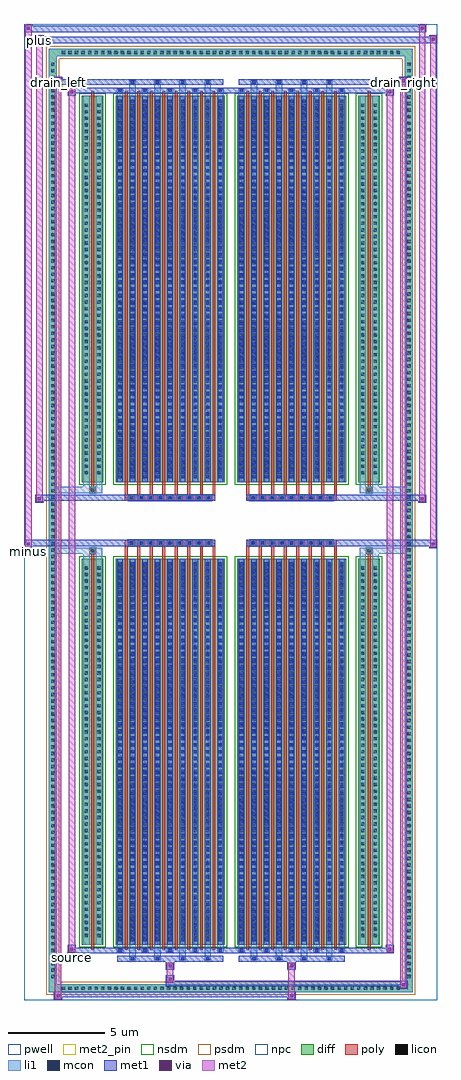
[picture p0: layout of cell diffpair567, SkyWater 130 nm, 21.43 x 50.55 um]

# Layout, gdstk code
import gdstk
lib = gdstk.Library(unit=1e-6, precision=5e-09)
def R(c, l, rs):  # rectangles x0, y0, x1, y1
    for r in rs: c.add(gdstk.rectangle(r[:2], r[2:], *l))
def A(c, l, x, y, w, h, nx, ny, dx, dy):  # array of equal rectangles
    R(c, l, [(x+i*dx, y+j*dy, x+i*dx+w, y+j*dy+h) for i in range(nx) for j in range(ny)])
def P(c, l, *ps):  # polygons
    for p in ps: c.add(gdstk.Polygon(p, *l))
pwell = (64, 44)
diff = (65, 20)
poly = (66, 20)
licon = (66, 44)
li1 = (67, 20)
mcon = (67, 44)
met1 = (68, 20)
via = (68, 44)
met2_pin = (69, 16)
met2 = (69, 20)
nsdm = (93, 44)
psdm = (94, 20)
npc = (95, 20)

diffpair567 = lib.new_cell('diffpair567')
R(diffpair567, pwell, [(-10.7,-24.84,10.7,25.71), (-8.02,-23.03,-0.01,-0.805), (0.01,-23.03,8.02,-0.805), (-8.02,0.805,-0.01,23.03), (0.01,0.805,8.02,23.03)])
A(diffpair567, diff, -8.875, -24.44, 0.41, 0.41, 52, 2, 0.34, 48.47)
A(diffpair567, diff, -9.43, -23.835, 0.41, 0.41, 1, 140, 0, 0.34)
A(diffpair567, diff, 9.02, -23.835, 0.41, 0.41, 1, 140, 0, 0.34)
R(diffpair567, diff, [(-8.875,-24.44,8.875,-24.03), (-9.43,-23.835,-9.02,23.835), (9.02,-23.835,9.43,23.835), (-7.71,-21.985,-6.61,-1.985), (-5.97,-21.985,-0.32,-1.985), (0.32,-21.985,5.97,-1.985), (6.61,-21.985,7.71,-1.985), (-7.71,1.985,-6.61,21.985), (-5.97,1.985,-0.32,21.985), (0.32,1.985,5.97,21.985), (6.61,1.985,7.71,21.985), (-8.875,24.03,8.875,24.44)])
P(diffpair567, diff, [(9.43,24.44),(-9.43,24.44),(-9.43,-24.03),(-9.02,-24.03),(-9.02,24.03),(9.02,24.03),(9.02,-24.03),(-9.02,-24.03),(-9.43,-24.03),(-9.43,-24.44),(9.43,-24.44)])
A(diffpair567, poly, -5.495, -22.235, 0.15, 20.5, 8, 2, 0.65, 23.97)
A(diffpair567, poly, 0.795, -22.235, 0.15, 20.5, 8, 2, 0.65, 23.97)
A(diffpair567, poly, -5.495, -1.735, 0.15, 0.4, 8, 2, 0.65, 3.07)
A(diffpair567, poly, 0.795, -1.735, 0.15, 0.4, 8, 2, 0.65, 3.07)
A(diffpair567, poly, -5.31, -1.335, 0.33, 0.33, 9, 2, 0.5, 2.34)
A(diffpair567, poly, 0.98, -1.335, 0.33, 0.33, 9, 2, 0.5, 2.34)
R(diffpair567, poly, [(-7.235,-22.235,-7.085,-1.735), (7.085,-22.235,7.235,-1.735), (-7.325,-1.735,-6.995,-1.405), (-7.325,-1.735,-6.995,-1.405), (6.995,-1.735,7.325,-1.405), (6.995,-1.735,7.325,-1.405), (-5.495,-1.335,-0.795,-1.005), (0.795,-1.335,5.495,-1.005), (-5.495,1.005,-0.795,1.335), (0.795,1.005,5.495,1.335), (-7.325,1.405,-6.995,1.735), (-7.325,1.405,-6.995,1.735), (6.995,1.405,7.325,1.735), (6.995,1.405,7.325,1.735), (-7.235,1.735,-7.085,22.235), (7.085,1.735,7.235,22.235)])
A(diffpair567, licon, -8.755, -24.32, 0.17, 0.17, 52, 2, 0.34, 48.47)
A(diffpair567, licon, -9.31, -23.715, 0.17, 0.17, 1, 140, 0, 0.34)
A(diffpair567, licon, 9.14, -23.715, 0.17, 0.17, 1, 140, 0, 0.34)
A(diffpair567, licon, -7.57, -21.59, 0.17, 0.17, 1, 57, 0, 0.34)
A(diffpair567, licon, -6.92, -21.59, 0.17, 0.17, 1, 57, 0, 0.34)
A(diffpair567, licon, -5.83, -21.59, 0.17, 0.17, 9, 57, 0.65, 0.34)
A(diffpair567, licon, 0.46, -21.59, 0.17, 0.17, 9, 57, 0.65, 0.34)
A(diffpair567, licon, 6.75, -21.59, 0.17, 0.17, 1, 57, 0, 0.34)
A(diffpair567, licon, 7.4, -21.59, 0.17, 0.17, 1, 57, 0, 0.34)
A(diffpair567, licon, -5.23, -1.255, 0.17, 0.17, 9, 2, 0.5, 2.34)
A(diffpair567, licon, 1.06, -1.255, 0.17, 0.17, 9, 2, 0.5, 2.34)
A(diffpair567, licon, -7.57, 2.38, 0.17, 0.17, 1, 57, 0, 0.34)
A(diffpair567, licon, -6.92, 2.38, 0.17, 0.17, 1, 57, 0, 0.34)
A(diffpair567, licon, -5.83, 2.38, 0.17, 0.17, 9, 57, 0.65, 0.34)
A(diffpair567, licon, 0.46, 2.38, 0.17, 0.17, 9, 57, 0.65, 0.34)
A(diffpair567, licon, 6.75, 2.38, 0.17, 0.17, 1, 57, 0, 0.34)
A(diffpair567, licon, 7.4, 2.38, 0.17, 0.17, 1, 57, 0, 0.34)
R(diffpair567, licon, [(-7.245,-1.655,-7.075,-1.485), (7.075,-1.655,7.245,-1.485), (-7.245,1.485,-7.075,1.655), (7.075,1.485,7.245,1.655)])
A(diffpair567, li1, -8.835, -24.4, 0.33, 0.33, 52, 2, 0.34, 48.47)
A(diffpair567, li1, -9.39, -23.795, 0.33, 0.33, 1, 140, 0, 0.34)
A(diffpair567, li1, 9.06, -23.795, 0.33, 0.33, 1, 140, 0, 0.34)
A(diffpair567, li1, -5.26, -22.79, 0.33, 0.805, 4, 2, 1.3, 44.775)
A(diffpair567, li1, -5.18, -22.79, 0.17, 0.17, 4, 2, 1.3, 45.41)
A(diffpair567, li1, 1.03, -22.79, 0.33, 0.805, 4, 2, 1.3, 44.775)
A(diffpair567, li1, 1.11, -22.79, 0.17, 0.17, 4, 2, 1.3, 45.41)
A(diffpair567, li1, -5.91, -22.36, 0.33, 0.375, 5, 2, 1.3, 44.345)
A(diffpair567, li1, -5.83, -22.36, 0.17, 0.17, 5, 2, 1.3, 44.55)
A(diffpair567, li1, 0.38, -22.36, 0.33, 0.375, 5, 2, 1.3, 44.345)
A(diffpair567, li1, 0.46, -22.36, 0.17, 0.17, 5, 2, 1.3, 44.55)
A(diffpair567, li1, -5.91, -21.985, 0.33, 20, 9, 2, 0.65, 23.97)
A(diffpair567, li1, 0.38, -21.985, 0.33, 20, 9, 2, 0.65, 23.97)
A(diffpair567, li1, -5.83, -21.79, 0.17, 0.17, 9, 55, 0.65, 0.36)
A(diffpair567, li1, -5.83, -21.79, 0.17, 19.61, 9, 2, 0.65, 23.97)
A(diffpair567, li1, 0.46, -21.79, 0.17, 0.17, 9, 55, 0.65, 0.36)
A(diffpair567, li1, 0.46, -21.79, 0.17, 19.61, 9, 2, 0.65, 23.97)
A(diffpair567, li1, -7.65, -21.67, 0.33, 0.33, 1, 57, 0, 0.34)
A(diffpair567, li1, -7, -21.67, 0.33, 0.33, 1, 57, 0, 0.34)
A(diffpair567, li1, -5.91, -21.67, 0.33, 0.33, 9, 57, 0.65, 0.34)
A(diffpair567, li1, 0.38, -21.67, 0.33, 0.33, 9, 57, 0.65, 0.34)
A(diffpair567, li1, 6.67, -21.67, 0.33, 0.33, 1, 57, 0, 0.34)
A(diffpair567, li1, 7.32, -21.67, 0.33, 0.33, 1, 57, 0, 0.34)
A(diffpair567, li1, -5.31, -1.335, 0.33, 0.33, 9, 2, 0.5, 2.34)
A(diffpair567, li1, 0.98, -1.335, 0.33, 0.33, 9, 2, 0.5, 2.34)
A(diffpair567, li1, -5.83, 2.18, 0.17, 0.17, 9, 55, 0.65, 0.36)
A(diffpair567, li1, 0.46, 2.18, 0.17, 0.17, 9, 55, 0.65, 0.36)
A(diffpair567, li1, -7.65, 2.3, 0.33, 0.33, 1, 57, 0, 0.34)
A(diffpair567, li1, -7, 2.3, 0.33, 0.33, 1, 57, 0, 0.34)
A(diffpair567, li1, -5.91, 2.3, 0.33, 0.33, 9, 57, 0.65, 0.34)
A(diffpair567, li1, 0.38, 2.3, 0.33, 0.33, 9, 57, 0.65, 0.34)
A(diffpair567, li1, 6.67, 2.3, 0.33, 0.33, 1, 57, 0, 0.34)
A(diffpair567, li1, 7.32, 2.3, 0.33, 0.33, 1, 57, 0, 0.34)
R(diffpair567, li1, [(-9.43,-24.44,-9.02,-24.03), (-9.43,-24.44,-9.02,-24.03), (-9.02,-24.44,9.02,-24.03), (9.02,-24.44,9.43,-24.03), (9.02,-24.44,9.43,-24.03), (-9.43,-24.03,-9.02,24.03), (9.02,-24.03,9.43,24.03), (-7.65,-21.985,-7.32,-1.985), (-7,-21.985,-6.67,-1.985), (6.67,-21.985,7,-1.985), (7.32,-21.985,7.65,-1.985), (-7.65,-1.985,-7.32,-1.405), (-7,-1.985,-6.67,-1.405), (6.67,-1.985,7,-1.405), (7.32,-1.985,7.65,-1.405), (-9.43,-1.735,-7.325,-1.405), (-7.65,-1.735,-7.325,-1.405), (-7.325,-1.735,-6.995,-1.405), (-6.995,-1.735,-6.67,-1.405), (6.67,-1.735,6.995,-1.405), (6.995,-1.735,7.325,-1.405), (6.995,-1.735,9.43,-1.405), (7.325,-1.735,7.65,-1.405), (-9.43,1.405,-7.325,1.735), (-7.65,1.405,-7.325,1.735), (-7.65,1.405,-7.32,1.985), (-7.325,1.405,-6.995,1.735), (-7,1.405,-6.67,1.985), (-6.995,1.405,-6.67,1.735), (6.67,1.405,6.995,1.735), (6.67,1.405,7,1.985), (6.995,1.405,7.325,1.735), (6.995,1.405,9.43,1.735), (7.32,1.405,7.65,1.985), (7.325,1.405,7.65,1.735), (-7.65,1.985,-7.32,21.985), (-7,1.985,-6.67,21.985), (6.67,1.985,7,21.985), (7.32,1.985,7.65,21.985), (-9.43,24.03,-9.02,24.44), (-9.43,24.03,-9.02,24.44), (-9.02,24.03,9.02,24.44), (9.02,24.03,9.43,24.44), (9.02,24.03,9.43,24.44)])
A(diffpair567, mcon, -5.18, -22.79, 0.17, 0.17, 4, 2, 1.3, 45.41)
A(diffpair567, mcon, 1.11, -22.79, 0.17, 0.17, 4, 2, 1.3, 45.41)
A(diffpair567, mcon, -5.83, -22.36, 0.17, 0.17, 5, 2, 1.3, 44.55)
A(diffpair567, mcon, 0.46, -22.36, 0.17, 0.17, 5, 2, 1.3, 44.55)
A(diffpair567, mcon, -5.83, -21.79, 0.17, 0.17, 9, 55, 0.65, 0.36)
A(diffpair567, mcon, 0.46, -21.79, 0.17, 0.17, 9, 55, 0.65, 0.36)
A(diffpair567, mcon, -5.23, -1.255, 0.17, 0.17, 9, 2, 0.5, 2.34)
A(diffpair567, mcon, 1.06, -1.255, 0.17, 0.17, 9, 2, 0.5, 2.34)
A(diffpair567, mcon, -5.83, 2.18, 0.17, 0.17, 9, 55, 0.65, 0.36)
A(diffpair567, mcon, 0.46, 2.18, 0.17, 0.17, 9, 55, 0.65, 0.36)
A(diffpair567, met1, -5.24, -22.85, 0.29, 0.29, 4, 2, 1.3, 45.41)
A(diffpair567, met1, 1.05, -22.85, 0.29, 0.29, 4, 2, 1.3, 45.41)
A(diffpair567, met1, -5.89, -22.42, 0.29, 0.29, 5, 2, 1.3, 44.55)
A(diffpair567, met1, 0.4, -22.42, 0.29, 0.29, 5, 2, 1.3, 44.55)
A(diffpair567, met1, -5.89, -21.985, 0.29, 20, 9, 2, 0.65, 23.97)
A(diffpair567, met1, 0.4, -21.985, 0.29, 20, 9, 2, 0.65, 23.97)
A(diffpair567, met1, -5.89, -21.85, 0.29, 0.29, 9, 55, 0.65, 0.36)
A(diffpair567, met1, 0.4, -21.85, 0.29, 0.29, 9, 55, 0.65, 0.36)
A(diffpair567, met1, -5.29, -1.315, 0.29, 0.29, 9, 2, 0.5, 2.34)
A(diffpair567, met1, 1, -1.315, 0.29, 0.29, 9, 2, 0.5, 2.34)
A(diffpair567, met1, -5.89, 2.12, 0.29, 0.29, 9, 55, 0.65, 0.36)
A(diffpair567, met1, 0.4, 2.12, 0.29, 0.29, 9, 55, 0.65, 0.36)
R(diffpair567, met1, [(-9.16,-24.84,-8.73,-24.41), (2.93,-24.84,3.36,-24.41), (-9.16,-24.7,3.36,-24.41), (8.73,-24.27,9.16,-23.84), (-3.36,-24.13,9.16,-23.84), (-3.36,-23.99,-2.93,-23.56), (-3.36,-23.28,-2.93,-22.85), (2.93,-23.28,3.36,-22.85), (-5.89,-22.85,-0.4,-22.56), (0.4,-22.85,5.89,-22.56), (-8.45,-22.42,-8.02,-21.99), (-8.45,-22.42,-5.89,-22.13), (-5.89,-22.42,-0.4,-22.13), (-0.4,-22.42,0.4,-22.13), (0.4,-22.42,5.89,-22.13), (5.89,-22.42,8.45,-22.13), (8.02,-22.42,8.45,-21.99), (-10.7,-1.435,-10.27,-1.005), (10.27,-1.435,10.7,-1.005), (-10.7,-1.335,-0.795,-1.005), (-5.495,-1.335,-0.795,-1.005), (0.795,-1.335,5.495,-1.005), (0.795,-1.335,10.7,-1.005), (-10.13,0.905,-9.7,1.335), (9.7,0.905,10.13,1.335), (-10.13,1.005,-5.495,1.335), (-5.495,1.005,-0.795,1.335), (0.795,1.005,5.495,1.335), (5.495,1.005,10.13,1.335), (-8.45,21.99,-8.02,22.42), (8.02,21.99,8.45,22.42), (-8.45,22.13,-5.89,22.42), (-5.89,22.13,-0.4,22.42), (-0.4,22.13,0.4,22.42), (0.4,22.13,5.89,22.42), (5.89,22.13,8.45,22.42), (-9.16,22.56,-8.73,22.99), (-9.16,22.56,-5.89,22.85), (-5.89,22.56,-0.4,22.85), (0.4,22.56,5.89,22.85), (5.89,22.56,9.16,22.85), (8.73,22.56,9.16,22.99), (-10.13,24.71,-9.7,25.14), (-10.13,24.71,-8.02,25.04), (-8.02,24.71,8.02,25.04), (8.02,24.71,10.7,25.04), (10.27,24.71,10.7,25.14), (-10.7,25.28,-10.27,25.71), (-10.7,25.28,-8.02,25.61), (-8.02,25.28,8.02,25.61), (8.02,25.28,10.13,25.61), (9.7,25.28,10.13,25.71)])
R(diffpair567, via, [(-9.02,-24.7,-8.87,-24.55), (3.07,-24.7,3.22,-24.55), (8.87,-24.13,9.02,-23.98), (-3.22,-23.85,-3.07,-23.7), (-3.22,-23.14,-3.07,-22.99), (3.07,-23.14,3.22,-22.99), (-8.31,-22.28,-8.16,-22.13), (8.16,-22.28,8.31,-22.13), (-10.56,-1.295,-10.41,-1.145), (10.41,-1.295,10.56,-1.145), (-9.99,1.045,-9.84,1.195), (9.84,1.045,9.99,1.195), (-8.31,22.13,-8.16,22.28), (8.16,22.13,8.31,22.28), (-9.02,22.7,-8.87,22.85), (8.87,22.7,9.02,22.85), (-9.99,24.85,-9.84,25), (10.41,24.85,10.56,25), (-10.56,25.42,-10.41,25.57), (9.84,25.42,9.99,25.57)])
R(diffpair567, met2_pin, [(-8.485,-22.87,-7.985,-22.37), (-10.735,-1.885,-10.235,-1.385), (-9.195,22.44,-8.695,22.94), (8.695,22.44,9.195,22.94), (-10.165,24.59,-9.665,25.09)])
R(diffpair567, met2, [(-9.11,-24.79,-8.78,-24.46), (-9.11,-24.79,-8.78,22.94), (2.98,-24.79,3.31,-24.46), (2.98,-24.46,3.31,-23.23), (8.78,-24.22,9.11,-23.89), (8.78,-24.22,9.11,22.94), (-3.31,-23.94,-2.98,-23.61), (-3.31,-23.61,-2.98,-23.23), (-3.31,-23.23,-2.98,-22.9), (2.98,-23.23,3.31,-22.9), (-8.4,-22.37,-8.07,-22.04), (-8.4,-22.37,-8.07,22.37), (8.07,-22.37,8.4,-22.04), (8.07,-22.37,8.4,22.37), (-10.65,-1.385,-10.32,-1.055), (-10.65,-1.385,-10.32,25.66), (10.32,-1.385,10.65,-1.055), (10.32,-1.385,10.65,25.09), (-10.08,0.955,-9.75,1.285), (-10.08,0.955,-9.75,25.09), (9.75,0.955,10.08,1.285), (9.75,0.955,10.08,25.66), (-8.4,22.04,-8.07,22.37), (8.07,22.04,8.4,22.37), (-9.11,22.61,-8.78,22.94), (8.78,22.61,9.11,22.94), (-10.08,24.76,-9.75,25.09), (10.32,24.76,10.65,25.09), (-10.65,25.33,-10.32,25.66), (9.75,25.33,10.08,25.66)])
P(diffpair567, met2, [(10.65,-1.385),(10.65,-1.385),(10.65,-1.055),(10.65,-1.055)],
  [(10.65,24.76),(10.65,24.76),(10.65,25.09),(10.65,25.09)],
  [(-10.32,-1.385),(-10.32,-1.385),(-10.32,-1.055),(-10.32,-1.055)],
  [(-10.32,25.33),(-10.32,25.33),(-10.32,25.66),(-10.32,25.66)],
  [(10.08,0.955),(10.08,0.955),(10.08,1.285),(10.08,1.285)],
  [(10.08,25.33),(10.08,25.33),(10.08,25.66),(10.08,25.66)],
  [(-9.75,0.955),(-9.75,0.955),(-9.75,1.285),(-9.75,1.285)],
  [(-9.75,24.76),(-9.75,24.76),(-9.75,25.09),(-9.75,25.09)],
  [(-8.78,-24.79),(-8.78,-24.79),(-8.78,-24.46),(-8.78,-24.46)],
  [(-8.78,22.61),(-8.78,22.61),(-8.78,22.94),(-8.78,22.94)],
  [(9.11,-24.22),(9.11,-24.22),(9.11,-23.89),(9.11,-23.89)],
  [(9.11,22.61),(9.11,22.61),(9.11,22.94),(9.11,22.94)],
  [(-8.07,-22.37),(-8.07,-22.37),(-8.07,-22.04),(-8.07,-22.04)],
  [(-8.07,22.04),(-8.07,22.04),(-8.07,22.37),(-8.07,22.37)],
  [(8.4,-22.37),(8.4,-22.37),(8.4,-22.04),(8.4,-22.04)],
  [(8.4,22.04),(8.4,22.04),(8.4,22.37),(8.4,22.37)])
R(diffpair567, nsdm, [(-7.84,-22.115,-6.48,-1.855), (-6.1,-22.115,-0.19,-1.855), (0.19,-22.115,6.1,-1.855), (6.48,-22.115,7.84,-1.855), (-7.84,1.855,-6.48,22.115), (-6.1,1.855,-0.19,22.115), (0.19,1.855,6.1,22.115), (6.48,1.855,7.84,22.115)])
P(diffpair567, psdm, [(9.56,24.57),(-9.56,24.57),(-9.56,-23.9),(-8.89,-23.9),(-8.89,23.9),(8.89,23.9),(8.89,-23.9),(-8.89,-23.9),(-9.56,-23.9),(-9.56,-24.57),(9.56,-24.57)])
A(diffpair567, npc, -5.33, -1.355, 0.37, 0.37, 9, 2, 0.5, 2.34)
A(diffpair567, npc, 0.96, -1.355, 0.37, 0.37, 9, 2, 0.5, 2.34)
R(diffpair567, npc, [(-7.345,-1.755,-6.975,-1.385), (6.975,-1.755,7.345,-1.385), (-5.33,-1.355,-4.46,-0.985), (-5.33,-1.355,-4.46,-0.985), (-4.83,-1.355,-3.96,-0.985), (-4.83,-1.355,-3.96,-0.985), (-4.33,-1.355,-3.46,-0.985), (-4.33,-1.355,-3.46,-0.985), (-3.83,-1.355,-2.96,-0.985), (-3.83,-1.355,-2.96,-0.985), (-3.33,-1.355,-2.46,-0.985), (-3.33,-1.355,-2.46,-0.985), (-2.83,-1.355,-1.96,-0.985), (-2.83,-1.355,-1.96,-0.985), (-2.33,-1.355,-1.46,-0.985), (-2.33,-1.355,-1.46,-0.985), (-1.83,-1.355,-0.96,-0.985), (-1.83,-1.355,-0.96,-0.985), (0.96,-1.355,1.83,-0.985), (0.96,-1.355,1.83,-0.985), (1.46,-1.355,2.33,-0.985), (1.46,-1.355,2.33,-0.985), (1.96,-1.355,2.83,-0.985), (1.96,-1.355,2.83,-0.985), (2.46,-1.355,3.33,-0.985), (2.46,-1.355,3.33,-0.985), (2.96,-1.355,3.83,-0.985), (2.96,-1.355,3.83,-0.985), (3.46,-1.355,4.33,-0.985), (3.46,-1.355,4.33,-0.985), (3.96,-1.355,4.83,-0.985), (3.96,-1.355,4.83,-0.985), (4.46,-1.355,5.33,-0.985), (4.46,-1.355,5.33,-0.985), (-5.33,0.985,-4.46,1.355), (-5.33,0.985,-4.46,1.355), (-4.83,0.985,-3.96,1.355), (-4.83,0.985,-3.96,1.355), (-4.33,0.985,-3.46,1.355), (-4.33,0.985,-3.46,1.355), (-3.83,0.985,-2.96,1.355), (-3.83,0.985,-2.96,1.355), (-3.33,0.985,-2.46,1.355), (-3.33,0.985,-2.46,1.355), (-2.83,0.985,-1.96,1.355), (-2.83,0.985,-1.96,1.355), (-2.33,0.985,-1.46,1.355), (-2.33,0.985,-1.46,1.355), (-1.83,0.985,-0.96,1.355), (-1.83,0.985,-0.96,1.355), (0.96,0.985,1.83,1.355), (0.96,0.985,1.83,1.355), (1.46,0.985,2.33,1.355), (1.46,0.985,2.33,1.355), (1.96,0.985,2.83,1.355), (1.96,0.985,2.83,1.355), (2.46,0.985,3.33,1.355), (2.46,0.985,3.33,1.355), (2.96,0.985,3.83,1.355), (2.96,0.985,3.83,1.355), (3.46,0.985,4.33,1.355), (3.46,0.985,4.33,1.355), (3.96,0.985,4.83,1.355), (3.96,0.985,4.83,1.355), (4.46,0.985,5.33,1.355), (4.46,0.985,5.33,1.355), (-7.345,1.385,-6.975,1.755), (6.975,1.385,7.345,1.755)])
diffpair567.add(gdstk.Label('minus', (-10.485,-1.635), layer=69, texttype=5))
diffpair567.add(gdstk.Label('drain_right', (8.945,22.69), layer=69, texttype=5))
diffpair567.add(gdstk.Label('drain_left', (-8.945,22.69), layer=69, texttype=5))
diffpair567.add(gdstk.Label('source', (-8.235,-22.62), layer=69, texttype=5))
diffpair567.add(gdstk.Label('plus', (-9.915,24.84), layer=69, texttype=5))

lib.write_gds('diffpair567.gds')
